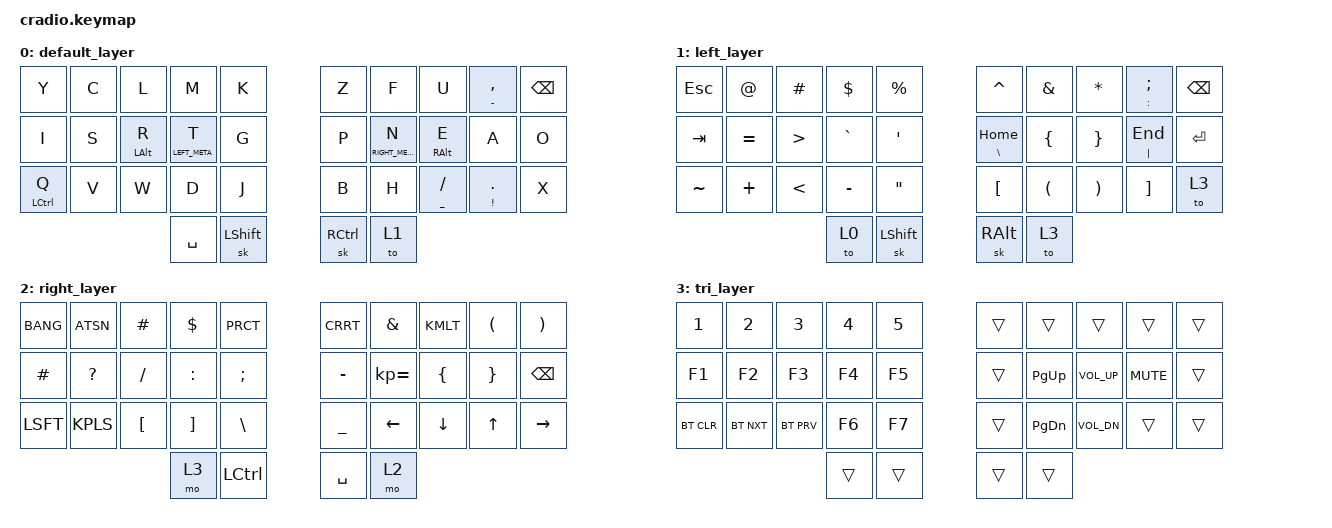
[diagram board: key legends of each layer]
/*
 * Copyright (c) 2020 The ZMK Contributors
 *
 * SPDX-License-Identifier: MIT
 */

#include <behaviors.dtsi>
#include <dt-bindings/zmk/keys.h>
#include <dt-bindings/zmk/bt.h>


&mt {
    tapping-term-ms = <400>;
};

&sk {
    release-after-ms = <2000>;
    /delete-property/ ignore-modifiers;
};

/ { 
        behaviors {

    gqt: global-quick-tap {
    compatible = "zmk,behavior-hold-tap";
    label = "GLOBAL_QUICK_TAP";
    #binding-cells = <2>;
    flavor = "tap-preferred";
    tapping-term-ms = <200>;
    quick-tap-ms = <125>;
    global-quick-tap;
    bindings = <&kp>, <&kp>;
};
        
        

        
    };

        keymap {
                compatible = "zmk,keymap";
                
       		default_layer {
		bindings = <
		&kp Y &kp C &kp L &kp M &kp K 					        	&kp Z &kp F  &kp U   &gqt  MINUS CMMA &kp BKSP 
		&kp I &kp S &mt LEFT_ALT R &mt LEFT_META T &kp G   	        &kp P &mt RIGHT_META N &mt RALT E &kp A &kp O
		&gqt LEFT_CONTROL Q &kp V &kp W &kp D &kp J				       			 &kp B &kp H  &gqt UNDER FSLH &gqt EXCL DOT &kp X
          				&kp SPACE  &sk LSHIFT 						&sk RIGHT_CONTROL &to 1 
		>;
		};

       		left_layer {
		bindings = <
		&kp ESC  &kp AT    &kp HASH   &kp DOLLAR    &kp PERCENT				&kp CARET &kp AMPS &kp ASTRK &gqt COLON SEMICOLON &kp BSPC
		&kp TAB    &kp EQUAL    &kp GT    &kp GRAVE     &kp SQT				&gqt BACKSLASH HOME  &kp LBRC  &kp RBRC &gqt PIPE END &kp ENTER 
		&kp TILDE    &kp PLUS 	&kp LT &kp MINUS &kp DQT					&kp LBKT &kp LPAR &kp RPAR &kp RBKT  &to 3 
					    &to 0  &sk LEFT_SHIFT 											&sk RIGHT_ALT &to 3
		>;
		};
		
		right_layer {
		bindings = <
		&kp BANG  &kp ATSN &kp HASH  &kp DLLR  &kp PRCT    			&kp CRRT  &kp AMPS &kp KMLT &kp LPRN &kp RPRN 
		&kp HASH  &kp QMARK  &kp FSLH  &kp COLN  &kp SCLN 			&kp MINUS &kp KP_EQUAL  &kp LBRC  &kp RBRC   &kp BKSP
		&kp LSFT  &kp KPLS &kp LBKT &kp RBKT   &kp BSLH    			&kp UNDER &kp LEFT &kp DOWN &kp UP  &kp RIGHT
					  &mo 3 &kp LCTL  				&kp SPC  &mo 2 
		>;
		};	
		
		tri_layer {
		bindings = <
		&kp NUM_1  &kp NUM_2    &kp NUM_3    &kp NUM_4    &kp NUM_5 			&trans &trans   &trans   &trans  &trans
		&kp F1 &kp F2 &kp F3 &kp F4 &kp F5  						&trans &kp PG_UP  &kp K_VOL_UP &kp K_MUTE &trans 
		&bt BT_CLR  &bt BT_NXT &bt BT_PRV &kp F6 &kp F7   				&trans &kp PG_DN  &kp K_VOL_DN  &trans &trans   
					 &trans &trans  					&trans &trans 
		>;
		};	
        
	};
};
